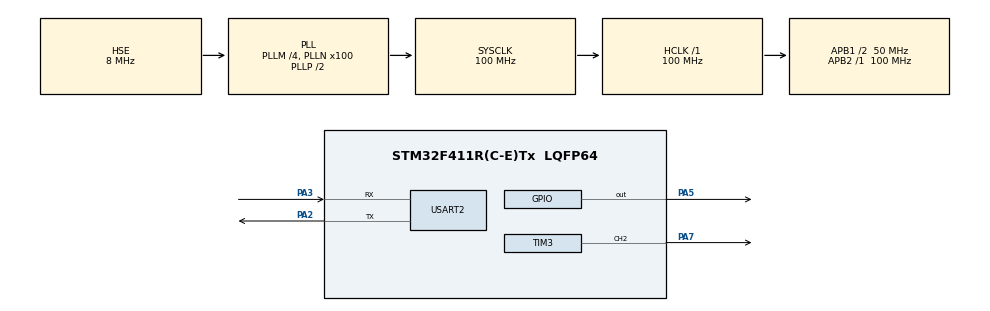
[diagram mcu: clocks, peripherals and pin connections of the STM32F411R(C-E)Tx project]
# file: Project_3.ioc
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Mcu.Family=STM32F4
Mcu.Name=STM32F411R(C-E)Tx
Mcu.Package=LQFP64
NVIC.PriorityGroup=NVIC_PRIORITYGROUP_4
PA13.Mode=Serial_Wire
PA13.Signal=SYS_JTMS-SWDIO
PA14.Mode=Serial_Wire
PA14.Signal=SYS_JTCK-SWCLK
PA2.Mode=Asynchronous
PA2.Signal=USART2_TX
PA3.Mode=Asynchronous
PA3.Signal=USART2_RX
PA5.Signal=GPIO_Output
PA7.Signal=S_TIM3_CH2
PH0\ -\ OSC_IN.Mode=HSE-External-Oscillator
PH0\ -\ OSC_IN.Signal=RCC_OSC_IN
PH1\ -\ OSC_OUT.Mode=HSE-External-Oscillator
PH1\ -\ OSC_OUT.Signal=RCC_OSC_OUT
ProjectManager.HeapSize=0x200
ProjectManager.StackSize=0x400
ProjectManager.TargetToolchain=STM32CubeIDE
RCC.48MHZClocksFreq_Value=50000000
RCC.AHBFreq_Value=100000000
RCC.APB1CLKDivider=RCC_HCLK_DIV2
RCC.APB1Freq_Value=50000000
RCC.APB1TimFreq_Value=100000000
RCC.APB2Freq_Value=100000000
RCC.APB2TimFreq_Value=100000000
RCC.CortexFreq_Value=100000000
RCC.HCLKFreq_Value=100000000
RCC.HSE_VALUE=8000000
RCC.HSI_VALUE=16000000
RCC.LSE_VALUE=32768
RCC.PLLM=4
RCC.PLLN=100
RCC.PLLSourceVirtual=RCC_PLLSOURCE_HSE
RCC.SYSCLKFreq_VALUE=100000000
RCC.SYSCLKSource=RCC_SYSCLKSOURCE_PLLCLK
RCC.VCOOutputFreq_Value=200000000
SH.S_TIM3_CH2.0=TIM3_CH2,PWM Generation2 CH2
TIM3.AutoReloadPreload=TIM_AUTORELOAD_PRELOAD_ENABLE
TIM3.Channel-PWM\ Generation2\ CH2=TIM_CHANNEL_2
TIM3.Period=1000-1
TIM3.Prescaler=100-1
TIM3.Pulse-PWM\ Generation2\ CH2=500-1
USART2.VirtualMode=VM_ASYNC
VP_TIM3_VS_ClockSourceINT.Mode=Internal
board=custom

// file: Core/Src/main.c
/* USER CODE BEGIN Header */
/**
  ******************************************************************************
  * @file           : main.c
  * @brief          : Main program body
  ******************************************************************************
  * @attention
  *
  * Copyright (c) 2025 STMicroelectronics.
  * All rights reserved.
  *
  * This software is licensed under terms that can be found in the LICENSE file
  * in the root directory of this software component.
  * If no LICENSE file comes with this software, it is provided AS-IS.
  *
  ******************************************************************************
  */
/* USER CODE END Header */
#include "main.h"

/* USER CODE BEGIN Includes */
#include <stdio.h>
/* USER CODE END Includes */

TIM_HandleTypeDef htim3;

UART_HandleTypeDef huart2;

/* USER CODE BEGIN PV */
int __io_putchar(int ch)
{
    HAL_UART_Transmit(&huart2, (uint8_t *)&ch, 1, 0xFFFF);
    return ch;
}
/* USER CODE END PV */

void SystemClock_Config(void);
static void MX_GPIO_Init(void);
static void MX_TIM3_Init(void);
static void MX_USART2_UART_Init(void);

/* USER CODE BEGIN 0 */
void powerOnSound()
{
	Buzzer_makeSound(1046);
	Buzzer_startSound();
	HAL_Delay(100);
	Buzzer_stopSound();

	Buzzer_makeSound(1318);
	Buzzer_startSound();
	HAL_Delay(100);
	Buzzer_stopSound();

	Buzzer_makeSound(1568);
	Buzzer_startSound();
	HAL_Delay(100);
	Buzzer_stopSound();

	Buzzer_makeSound(2093);
	Buzzer_startSound();
	HAL_Delay(100);
	Buzzer_stopSound();
}
/* USER CODE END 0 */

int main(void)
{

  /* MCU Configuration--------------------------------------------------------*/

  /* Reset of all peripherals, Initializes the Flash interface and the Systick. */
  HAL_Init();

  /* Configure the system clock */
  SystemClock_Config();

  /* Initialize all configured peripherals */
  MX_GPIO_Init();
  MX_TIM3_Init();
  MX_USART2_UART_Init();
  /* USER CODE BEGIN 2 */
  Buzzer_init(&htim3, TIM_CHANNEL_2);
  Buzzer_stopSound();
  HAL_TIM_Base_Start(&htim3);
  HAL_TIM_PWM_Start(&htim3, TIM_CHANNEL_2);
  powerOnSound();
  /* USER CODE END 2 */

  /* Infinite loop */
  while (1)
  {

  }
}

void SystemClock_Config(void)
{
  RCC_OscInitTypeDef RCC_OscInitStruct = {0};
  RCC_ClkInitTypeDef RCC_ClkInitStruct = {0};

  /** Configure the main internal regulator output voltage
  */
  __HAL_RCC_PWR_CLK_ENABLE();
  __HAL_PWR_VOLTAGESCALING_CONFIG(PWR_REGULATOR_VOLTAGE_SCALE1);

  /** Initializes the RCC Oscillators according to the specified parameters
  * in the RCC_OscInitTypeDef structure.
  */
  RCC_OscInitStruct.OscillatorType = RCC_OSCILLATORTYPE_HSE;
  RCC_OscInitStruct.HSEState = RCC_HSE_ON;
  RCC_OscInitStruct.PLL.PLLState = RCC_PLL_ON;
  RCC_OscInitStruct.PLL.PLLSource = RCC_PLLSOURCE_HSE;
  RCC_OscInitStruct.PLL.PLLM = 4;
  RCC_OscInitStruct.PLL.PLLN = 100;
  RCC_OscInitStruct.PLL.PLLP = RCC_PLLP_DIV2;
  RCC_OscInitStruct.PLL.PLLQ = 4;
  if (HAL_RCC_OscConfig(&RCC_OscInitStruct) != HAL_OK)
  {
    Error_Handler();
  }

  /** Initializes the CPU, AHB and APB buses clocks
  */
  RCC_ClkInitStruct.ClockType = RCC_CLOCKTYPE_HCLK|RCC_CLOCKTYPE_SYSCLK
                              |RCC_CLOCKTYPE_PCLK1|RCC_CLOCKTYPE_PCLK2;
  RCC_ClkInitStruct.SYSCLKSource = RCC_SYSCLKSOURCE_PLLCLK;
  RCC_ClkInitStruct.AHBCLKDivider = RCC_SYSCLK_DIV1;
  RCC_ClkInitStruct.APB1CLKDivider = RCC_HCLK_DIV2;
  RCC_ClkInitStruct.APB2CLKDivider = RCC_HCLK_DIV1;

  if (HAL_RCC_ClockConfig(&RCC_ClkInitStruct, FLASH_LATENCY_3) != HAL_OK)
  {
    Error_Handler();
  }
}

static void MX_TIM3_Init(void)
{

  TIM_ClockConfigTypeDef sClockSourceConfig = {0};
  TIM_MasterConfigTypeDef sMasterConfig = {0};
  TIM_OC_InitTypeDef sConfigOC = {0};

  htim3.Instance = TIM3;
  htim3.Init.Prescaler = 100-1;
  htim3.Init.CounterMode = TIM_COUNTERMODE_UP;
  htim3.Init.Period = 1000-1;
  htim3.Init.ClockDivision = TIM_CLOCKDIVISION_DIV1;
  htim3.Init.AutoReloadPreload = TIM_AUTORELOAD_PRELOAD_ENABLE;
  if (HAL_TIM_Base_Init(&htim3) != HAL_OK)
  {
    Error_Handler();
  }
  sClockSourceConfig.ClockSource = TIM_CLOCKSOURCE_INTERNAL;
  if (HAL_TIM_ConfigClockSource(&htim3, &sClockSourceConfig) != HAL_OK)
  {
    Error_Handler();
  }
  if (HAL_TIM_PWM_Init(&htim3) != HAL_OK)
  {
    Error_Handler();
  }
  sMasterConfig.MasterOutputTrigger = TIM_TRGO_RESET;
  sMasterConfig.MasterSlaveMode = TIM_MASTERSLAVEMODE_DISABLE;
  if (HAL_TIMEx_MasterConfigSynchronization(&htim3, &sMasterConfig) != HAL_OK)
  {
    Error_Handler();
  }
  sConfigOC.OCMode = TIM_OCMODE_PWM1;
  sConfigOC.Pulse = 500-1;
  sConfigOC.OCPolarity = TIM_OCPOLARITY_HIGH;
  sConfigOC.OCFastMode = TIM_OCFAST_DISABLE;
  if (HAL_TIM_PWM_ConfigChannel(&htim3, &sConfigOC, TIM_CHANNEL_2) != HAL_OK)
  {
    Error_Handler();
  }
  HAL_TIM_MspPostInit(&htim3);

}

static void MX_USART2_UART_Init(void)
{

  huart2.Instance = USART2;
  huart2.Init.BaudRate = 115200;
  huart2.Init.WordLength = UART_WORDLENGTH_8B;
  huart2.Init.StopBits = UART_STOPBITS_1;
  huart2.Init.Parity = UART_PARITY_NONE;
  huart2.Init.Mode = UART_MODE_TX_RX;
  huart2.Init.HwFlowCtl = UART_HWCONTROL_NONE;
  huart2.Init.OverSampling = UART_OVERSAMPLING_16;
  if (HAL_UART_Init(&huart2) != HAL_OK)
  {
    Error_Handler();
  }

}

static void MX_GPIO_Init(void)
{
  GPIO_InitTypeDef GPIO_InitStruct = {0};

  /* GPIO Ports Clock Enable */
  __HAL_RCC_GPIOH_CLK_ENABLE();
  __HAL_RCC_GPIOA_CLK_ENABLE();

  /*Configure GPIO pin Output Level */
  HAL_GPIO_WritePin(GPIOA, GPIO_PIN_5, GPIO_PIN_RESET);

  /*Configure GPIO pin : PA5 */
  GPIO_InitStruct.Pin = GPIO_PIN_5;
  GPIO_InitStruct.Mode = GPIO_MODE_OUTPUT_PP;
  GPIO_InitStruct.Pull = GPIO_NOPULL;
  GPIO_InitStruct.Speed = GPIO_SPEED_FREQ_LOW;
  HAL_GPIO_Init(GPIOA, &GPIO_InitStruct);

}

void Error_Handler(void)
{
  __disable_irq();
  while (1)
  {
  }
}
